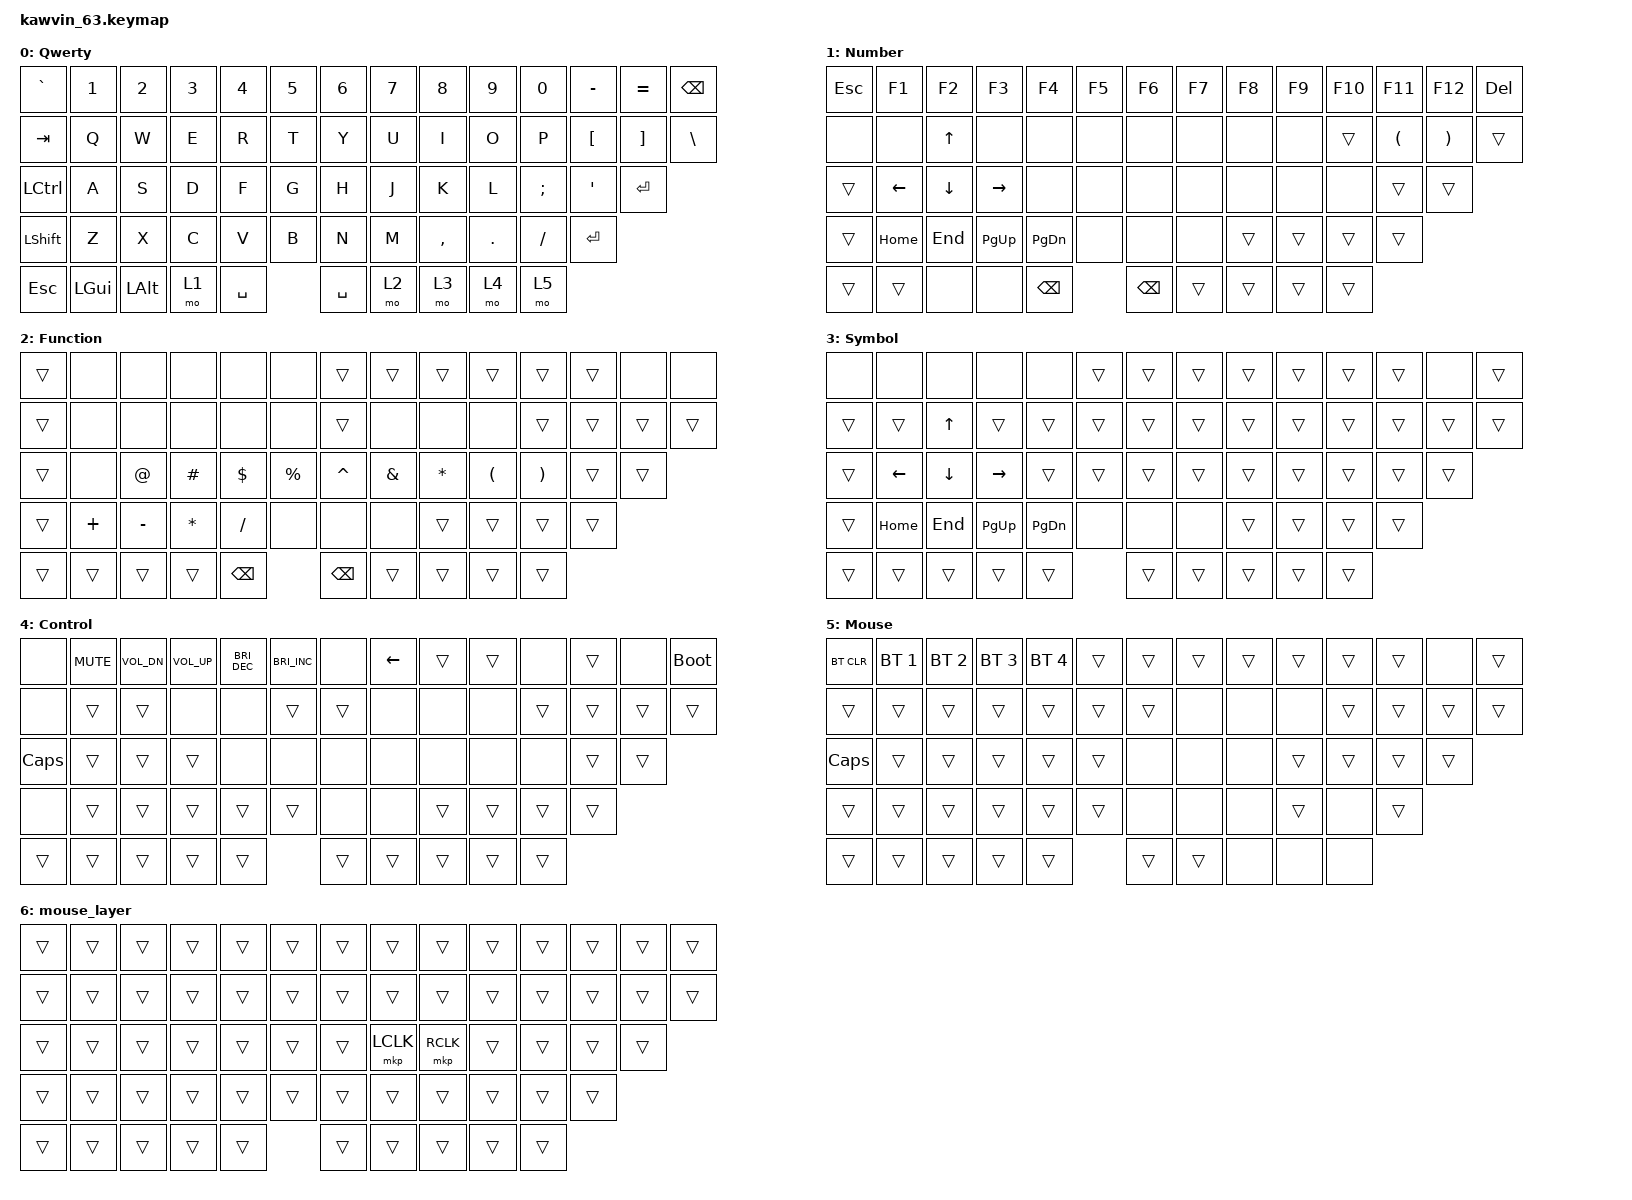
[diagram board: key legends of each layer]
/*
 * Copyright (c) 2023 The ZMK Contributors
 *
 * SPDX-License-Identifier: MIT
 */

#include <behaviors/mouse_keys.dtsi>
#include <dt-bindings/zmk/mouse.h>
#include <behaviors.dtsi>
#include <dt-bindings/zmk/bt.h>
#include <dt-bindings/zmk/keys.h>
#include <dt-bindings/zmk/pointing.h>

#define ZMK_MOUSE_DEFAULT_MOVE_VAL 1200  // 600
#define ZMK_MOUSE_DEFAULT_SCRL_VAL 20    // 10
#define U_MS_U &mmv MOVE_UP
#define U_MS_D &mmv MOVE_DOWN
#define U_MS_L &mmv MOVE_LEFT
#define U_MS_R &mmv MOVE_RIGHT
#define ZMK_MOUSE_DEFAULT_MOVE_VAL 1200  //  600
#define ZMK_MOUSE_DEFAULT_SCRL_VAL 20    // 10

/ {
    macros {
        Login_Pwd: LoginPwd {
            compatible = "zmk,behavior-macro";
            #binding-cells = <0>;
            bindings = <&none &kp N1 &kp N2 &kp N3 &kp N6 &kp N5 &kp N4 &kp RET>;
            label = "LOGINPWD";
        };

        Gmail: Gmail {
            compatible = "zmk,behavior-macro";
            #binding-cells = <0>;
            bindings = <&none &kp C &kp O &kp E &kp N &kp DOT &kp K &kp DOT &kp W &kp A &kp N &kp G &kp AT &kp G &kp M &kp A &kp I &kp L &kp DOT &kp C &kp O &kp M>;
            label = "GMAIL";
        };

        Pwd_B: Pwd_B {
            compatible = "zmk,behavior-macro";
            #binding-cells = <0>;
            bindings = <&none &kp LS(B) &kp A &kp LS(Z) &kp H &kp E &kp N &kp G &kp LS(D) &kp A &kp O &kp AMPS &kp N1 &kp N2>;
            label = "PWD_B";
        };

        Clear_Cache: Clear_Cache {
            compatible = "zmk,behavior-macro";
            #binding-cells = <0>;
            bindings = <&none &kp LS(LC(DELETE))>;
            label = "CLEAR_CACHE";
        };

        Task_Manager: Task_Manager {
            compatible = "zmk,behavior-macro";
            #binding-cells = <0>;
            bindings = <&none &kp LC(LA(DELETE))>;
            label = "TASK_MANAGER";
        };

        Qmail: Qmail {
            compatible = "zmk,behavior-macro";
            #binding-cells = <0>;
            bindings = <&none &kp N1 &kp N1 &kp N5 &kp N0 &kp N9 &kp N0 &kp N4 &kp N7 &kp N8 &kp N4 &kp AT &kp Q &kp Q &kp DOT &kp C &kp O &kp M>;
            label = "QMAIL";
        };

        Pwd_H: Pwd_H {
            compatible = "zmk,behavior-macro";
            #binding-cells = <0>;
            bindings = <&none &kp LS(H) &kp E &kp R &kp O &kp N1 &kp N2 &kp N3 &kp N4>;
            label = "PWD_H";
        };

        Phone_Num: Phone_Num {
            compatible = "zmk,behavior-macro";
            #binding-cells = <0>;
            bindings = <&none &kp N1 &kp N8 &kp N9 &kp N1 &kp N2 &kp N3 &kp N7 &kp N6 &kp N3 &kp N1 &kp N9>;
            label = "PHONE_NUM";
        };

        Q_Src: Q_Src {
            compatible = "zmk,behavior-macro";
            #binding-cells = <0>;
            bindings = <&none &kp LC(LA(A))>;
            label = "Q_SRC";
        };

        Per_Del: Per_Del {
            compatible = "zmk,behavior-macro";
            #binding-cells = <0>;
            bindings = <&none &kp LS(DELETE)>;
            label = "PER_DEL";
        };
    };

    behaviors {
        hm: homerow_mods {
            compatible = "zmk,behavior-hold-tap";
            label = "HOMEROW_MODS";
            bindings = <&kp>, <&kp>;

            #binding-cells = <2>;
            tapping-term-ms = <200>;
            quick-tap-ms = <180>;
            flavor = "tap-preferred";
        };

        ltq: ltq {
            compatible = "zmk,behavior-hold-tap";
            label = "LTQ";
            bindings = <&mo>, <&kp>;

            #binding-cells = <2>;
            tapping-term-ms = <300>;
            quick-tap-ms = <180>;
            flavor = "tap-preferred";
        };

        as: auto_shift {
            compatible = "zmk,behavior-hold-tap";
            label = "AUTO_SHIFT";
            bindings = <&kp>, <&kp>;

            #binding-cells = <2>;
            tapping-term-ms = <135>;
            quick-tap-ms = <0>;
        };
    };

    combos { compatible = "zmk,combos"; };

    keymap {
        compatible = "zmk,keymap";

        qwerty_layer {
            //  ---------------------------------------------------------------------------------
            //  |GRAVE |N1  |N2  |N3        |N4          |N5  |N6  |N7          |N8        |N9  |N0  |MINUS |EQUAL|BSPC|
            //  |TAB   |Q   |W   |E         |R           |T   |Y   |U           |I         |O   |P   |LBKT  |RBKT |BSLH|
            //  |CAPS  |A   |S   |D         |&ltq 2 F    |G   |H   |J           |K         |L   |SEMI|SQT   |ENTER|    |
            //  |LSHIFT|Z   |X   |C         |&ltq 3 V    |B   |N   |M           |COMMA     |DOT |FSLH|RSHIFT|     |    |
            //  |LCTRL |LGUI|LALT|&ltq 4 DEL|&ltq 1 SPACE|    |    |&ltq 1 SPACE|&ltq 5 INS|RGUI|RALT|RCTRL |     |    |

            bindings = <
&kp GRAVE   &kp NUMBER_1  &kp NUMBER_2  &kp NUMBER_3  &kp NUMBER_4  &kp N5  &kp NUMBER_6  &kp N7  &kp N8     &kp N9   &kp N0     &kp MINUS  &kp EQUAL  &kp BSPC
&kp TAB     &kp Q         &kp W         &kp E         &kp R         &kp T   &kp Y         &kp U   &kp I      &kp O    &kp P      &kp LBKT   &kp RBKT   &kp BSLH
&kp LCTRL   &kp A         &kp S         &kp D         &kp F         &kp G   &kp H         &kp J   &kp K      &kp L    &kp SEMI   &kp SQT    &kp ENTER
&kp LSHIFT  &kp Z         &kp X         &kp C         &kp V         &kp B   &kp N         &kp M   &kp COMMA  &kp DOT  &kp SLASH  &kp ENTER
&kp ESCAPE  &kp LGUI      &kp LALT      &mo 1         &kp SPACE             &kp SPACE     &mo 2   &mo 3      &mo 4    &mo 5
            >;

            label = "Qwerty";
        };

        num_macro_layer {
            //  ---------------------------------------------------------------------------------
            //  |N0  |     |            |           |     |     |                        |     |    |    |    |    |    |    |
            //  |N0  |N6   |N7          |N8         |N9   |DOT  |&mt KP_SLASH KP_MULTIPLY|N4   |N5  |N6  |    |    |    |    |
            //  |    |SLASH|MULTIPLY    |MINUS      |PLUS |ENTER|PLUS                    |1    |2   |3   |    |    |    |    |
            //  |    |HOME |END         |PG_UP      |PG_DN|BSPC |MINUS                   |N0   |DOT |DOT |    |    |    |    |
            //  |    |     |LC(LS(HOME))|LC(LS(END))|     |     |                        |ENTER|    |    |    |    |    |    |

            bindings = <
&kp ESC  &kp F1    &kp F2        &kp F3       &kp F4         &kp F5  &kp F6         &kp F7  &kp F8  &kp F9  &kp F10  &kp F11               &kp F12                &kp DEL
&none    &none     &kp UP_ARROW  &none        &none          &none   &none          &none   &none   &none   &trans   &kp LEFT_PARENTHESIS  &kp RIGHT_PARENTHESIS  &trans
&trans   &kp LEFT  &kp DOWN      &kp RIGHT    &none          &none   &none          &none   &none   &none   &none    &trans                &trans
&trans   &kp HOME  &kp END       &kp PAGE_UP  &kp PAGE_DOWN  &none   &none          &none   &trans  &trans  &trans   &trans
&trans   &trans    &none         &none        &kp BACKSPACE          &kp BACKSPACE  &trans  &trans  &trans  &trans
            >;

            label = "Number";
        };

        symbol_layer {
            //  ---------------------------------------------------------------------------------
            //  |    |F1  |F2       |F3   |F4  |F5  |     |     |    |          |               |    |    |    |
            //  |    |F6  |&mt F7 UP|F8   |F9  |F10 |     |HOME |UP  |END       |               |    |    |    |
            //  |    |LEFT|DOWN     |RIGHT|    |F11 |LEFT |RIGHT|DOWN|&end_enter|&end_semi_enter|    |    |    |
            //  |    |    |         |     |    |F12 |PG_DN|PG_UP|    |          |               |    |    |    |
            //  |    |    |         |     |    |    |     |     |    |          |               |    |    |    |

            bindings = <
&trans  &none     &none        &none         &none          &none        &trans         &trans         &trans        &trans                &trans                 &trans  &none   &none
&trans  &none     &none        &none         &none          &none        &trans         &none          &none         &none                 &trans                 &trans  &trans  &trans
&trans  &none     &kp AT_SIGN  &kp HASH      &kp DOLLAR     &kp PERCENT  &kp CARET      &kp AMPERSAND  &kp ASTERISK  &kp LEFT_PARENTHESIS  &kp RIGHT_PARENTHESIS  &trans  &trans
&trans  &kp PLUS  &kp MINUS    &kp ASTERISK  &kp SLASH      &none        &none          &none          &trans        &trans                &trans                 &trans
&trans  &trans    &trans       &trans        &kp BACKSPACE               &kp BACKSPACE  &trans         &trans        &trans                &trans
            >;

            label = "Function";
        };

        direct_layer {
            //  ---------------------------------------------------------------------------------
            //  |CARET|AMPS|STAR|LPAR|RPAR|    |    |    |    |    |    |    |    |    |
            //  |     |    |    |    |    |    |    |    |    |    |    |    |    |    |
            //  |     |    |    |    |    |    |    |    |    |    |    |    |    |    |
            //  |     |    |    |    |    |    |    |    |    |    |    |    |    |    |
            //  |     |    |    |    |    |    |    |    |    |    |    |    |    |    |

            bindings = <
&none   &none           &none         &none        &none          &trans  &trans  &trans  &trans  &trans  &trans  &trans  &none   &trans
&trans  &trans          &kp UP_ARROW  &trans       &trans         &trans  &trans  &trans  &trans  &trans  &trans  &trans  &trans  &trans
&trans  &kp LEFT_ARROW  &kp DOWN      &kp RIGHT    &trans         &trans  &trans  &trans  &trans  &trans  &trans  &trans  &trans
&trans  &kp HOME        &kp END       &kp PAGE_UP  &kp PAGE_DOWN  &none   &none   &none   &trans  &trans  &trans  &trans
&trans  &trans          &trans        &trans       &trans                 &trans  &trans  &trans  &trans  &trans
            >;

            label = "Symbol";

            //sensor-bindings = <&inc_dec_kp C_VOL_UP C_VOL_DN>;
            //sensor-bindings = <&inc_dec_kp C_VOL_UP C_VOL_DN &inc_dec_kp PG_UP PG_DN>;
        };

        media_layer {
            //  ---------------------------------------------------------------------------------
            //  |BT_CLR      |BT_SEL 0|BT_SEL 1|BT_SEL 2|BT_SEL 3  |BT_SEL 4 |     |     |    |          |               |    |    |&bootloader|
            //  |EP_TOG      |        |        |ENTER   |INS       |         |     |HOME |UP  |END       |               |    |    |           |
            //  |R           |        |        |        |LS(LC(N8))|LC(ENTER)|LEFT |RIGHT|DOWN|&end_enter|&end_semi_enter|    |    |           |
            //  |&out OUT_TOG|        |        |        |          |         |PG_DN|PG_UP|    |          |               |    |    |           |
            //  |            |        |        |        |          |         |     |     |    |          |               |    |    |           |

            bindings = <
&none     &kp C_MUTE  &kp C_VOL_DN  &kp C_VOL_UP  &kp C_BRI_DEC  &kp C_BRI_INC  &none   &kp LEFT  &trans  &trans  &none   &trans  &none   &bootloader
&none     &trans      &trans        &none         &none          &trans         &trans  &none     &none   &none   &trans  &trans  &trans  &trans
&kp CLCK  &trans      &trans        &trans        &none          &none          &none   &none     &none   &none   &none   &trans  &trans
&none     &trans      &trans        &trans        &trans         &trans         &none   &none     &trans  &trans  &trans  &trans
&trans    &trans      &trans        &trans        &trans                        &trans  &trans    &trans  &trans  &trans
            >;

            label = "Control";
        };

        ble_layer {
            //  ---------------------------------------------------------------------------------
            //  |    |    |    |    |    |    |              |               |              |         |    |     |    |    |
            //  |    |    |    |    |    |    |              |&mkp LCLK      |&mmv MOVE_UP  |&mkp RCLK|    |     |    |    |
            //  |    |    |    |    |    |    |&mmv MOVE_LEFT|&mmv MOVE_RIGHT|&mmv MOVE_DOWN|         |    |     |    |    |
            //  |    |    |    |    |    |    |&mkp MCLK     |&mkp MB4       |&mkp MB5      |         |UP  |     |    |    |
            //  |    |    |    |    |    |    |              |               |              |LEFT     |DOWN|RIGHT|    |    |

            bindings = <
&bt BT_CLR  &bt BT_SEL 1  &bt BT_SEL 2  &bt BT_SEL 3  &bt BT_SEL 4  &trans  &trans  &trans  &trans  &trans  &trans  &trans  &none   &trans
&trans      &trans        &trans        &trans        &trans        &trans  &trans  &none   &none   &none   &trans  &trans  &trans  &trans
&kp CAPS    &trans        &trans        &trans        &trans        &trans  &none   &none   &none   &trans  &trans  &trans  &trans
&trans      &trans        &trans        &trans        &trans        &trans  &none   &none   &none   &trans  &none   &trans
&trans      &trans        &trans        &trans        &trans                &trans  &trans  &none   &none   &none
            >;

            label = "Mouse";
        };

        mouse_layer {
            bindings = <
&trans  &trans  &trans  &trans  &trans  &trans  &trans  &trans     &trans     &trans  &trans  &trans  &trans  &trans
&trans  &trans  &trans  &trans  &trans  &trans  &trans  &trans     &trans     &trans  &trans  &trans  &trans  &trans
&trans  &trans  &trans  &trans  &trans  &trans  &trans  &mkp LCLK  &mkp RCLK  &trans  &trans  &trans  &trans
&trans  &trans  &trans  &trans  &trans  &trans  &trans  &trans     &trans     &trans  &trans  &trans
&trans  &trans  &trans  &trans  &trans          &trans  &trans     &trans     &trans  &trans
            >;
        };
    };
};
